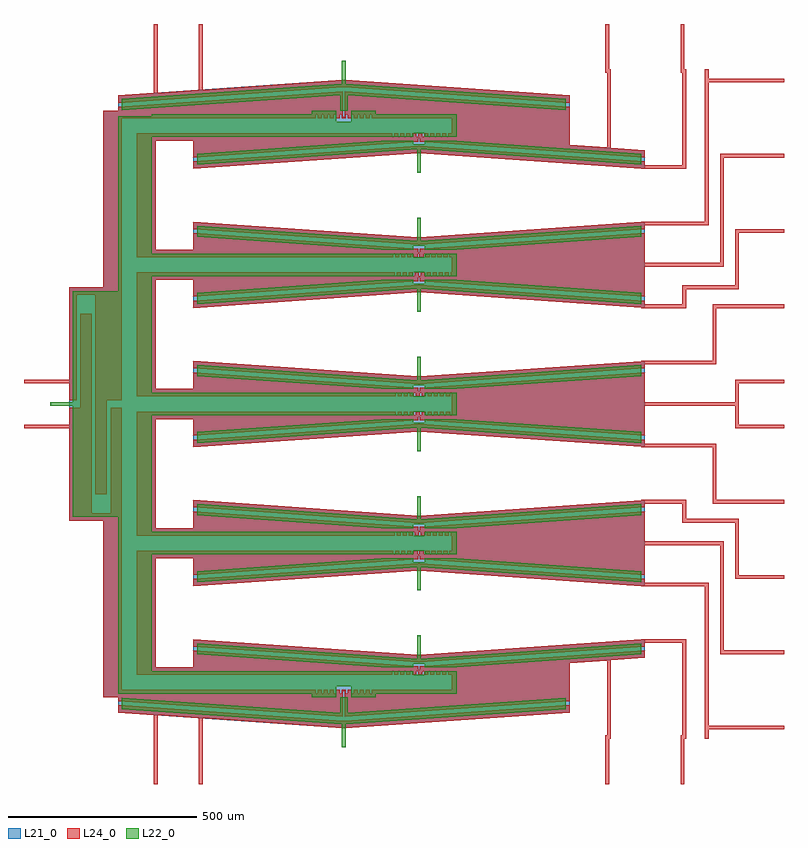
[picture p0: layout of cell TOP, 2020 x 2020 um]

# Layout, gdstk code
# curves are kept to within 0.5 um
import gdstk
lib = gdstk.Library(unit=1e-6, precision=1e-09)
def P(c, l, *ps):  # polygons
    for p in ps: c.add(gdstk.Polygon(p, *l))
L21_0 = (21, 0)
L22_0 = (22, 0)
L24_0 = (24, 0)

top = lib.new_cell('TOP')
P(top, L21_0, [(1037.5,338),(440,379.976),(440,420),(400,420),(400,890),(310,890),(310,1510),(400,1510),(400,1980),(440,1980),(440,2020.024),(1037.5,2062),(1640,2020.024),(1640,1889.055),(1840,1875.07),(1840,1825),(1830,1825),(1830,1825.745),(1242.5,1866.827),(640,1825.046),(640,1900),(540,1900),(540,1610),(640,1610),(640,1684.954),(1242.5,1643.173),(1830,1684.255),(1830,1685),(1840,1685),(1840,1455),(1830,1455),(1830,1455.745),(1242.5,1496.827),(640,1455.046),(640,1530),(540,1530),(540,1240),(640,1240),(640,1314.954),(1242.5,1273.173),(1830,1314.255),(1830,1315),(1840,1315),(1840,1085),(1830,1085),(1830,1085.745),(1242.5,1126.827),(640,1085.046),(640,1160),(540,1160),(540,870),(640,870),(640,944.954),(1242.5,903.173),(1830,944.255),(1830,945),(1840,945),(1840,715),(1830,715),(1830,715.745),(1242.5,756.827),(640,715.046),(640,790),(540,790),(540,500),(640,500),(640,574.954),(1242.5,533.173),(1830,574.255),(1830,575),(1840,575),(1840,524.93),(1640,510.945),(1640,379.976)])
P(top, L22_0, [(955,420),(955,430),(440,430),(440,900),(320,900),(320,1195),(260,1195),(260,1205),(320,1205),(320,1500),(440,1500),(440,1965),(530,1965),(530,1970),(955,1970),(955,1980),(1020,1980),(1020,1950),(1060,1950),(1060,1980),(1125,1980),(1125,1970),(1340,1970),(1340,1910),(1255,1910),(1255,1920),(1225,1920),(1225,1910),(530,1910),(530,1600),(1225,1600),(1225,1590),(1255,1590),(1255,1600),(1340,1600),(1340,1540),(1255,1540),(1255,1550),(1225,1550),(1225,1540),(530,1540),(530,1230),(1225,1230),(1225,1220),(1255,1220),(1255,1230),(1340,1230),(1340,1170),(1255,1170),(1255,1180),(1225,1180),(1225,1170),(530,1170),(530,860),(1225,860),(1225,850),(1255,850),(1255,860),(1340,860),(1340,800),(1255,800),(1255,810),(1225,810),(1225,800),(530,800),(530,490),(1225,490),(1225,480),(1255,480),(1255,490),(1340,490),(1340,430),(1125,430),(1125,420),(1060,420),(1060,450),(1020,450),(1020,420)],
  [(1035,288),(1035,348.369),(450,389.276),(450,419.301),(1030,378.743),(1030,420),(1050,420),(1050,378.743),(1630,419.301),(1630,389.276),(1045,348.369),(1045,288)],
  [(1030,1980),(1030,2021.257),(450,1980.699),(450,2010.724),(1035,2051.631),(1035,2112),(1045,2112),(1045,2051.631),(1630,2010.724),(1630,1980.699),(1050,2021.257),(1050,1980)],
  [(1139.523,500),(650,534.231),(650,564.255),(1235,523.348),(1235,585),(1245,585),(1245,523.348),(1830,564.255),(1830,534.231),(1340.477,500),(1255,500),(1255,510),(1225,510),(1225,500)],
  [(1235,705),(1235,766.652),(650,725.745),(650,755.769),(1139.523,790),(1225,790),(1225,780),(1255,780),(1255,790),(1340.477,790),(1830,755.769),(1830,725.745),(1245,766.652),(1245,705)],
  [(1139.523,870),(650,904.231),(650,934.255),(1235,893.348),(1235,955),(1245,955),(1245,893.348),(1830,934.255),(1830,904.231),(1340.477,870),(1255,870),(1255,880),(1225,880),(1225,870)],
  [(1235,1075),(1235,1136.652),(650,1095.745),(650,1125.769),(1139.523,1160),(1225,1160),(1225,1150),(1255,1150),(1255,1160),(1340.477,1160),(1830,1125.769),(1830,1095.745),(1245,1136.652),(1245,1075)],
  [(1139.523,1240),(650,1274.231),(650,1304.255),(1235,1263.348),(1235,1325),(1245,1325),(1245,1263.348),(1830,1304.255),(1830,1274.231),(1340.477,1240),(1255,1240),(1255,1250),(1225,1250),(1225,1240)],
  [(1235,1445),(1235,1506.652),(650,1465.745),(650,1495.769),(1139.523,1530),(1225,1530),(1225,1520),(1255,1520),(1255,1530),(1340.477,1530),(1830,1495.769),(1830,1465.745),(1245,1506.652),(1245,1445)],
  [(1139.523,1610),(650,1644.231),(650,1674.255),(1235,1633.348),(1235,1695),(1245,1695),(1245,1633.348),(1830,1674.255),(1830,1644.231),(1340.477,1610),(1255,1610),(1255,1620),(1225,1620),(1225,1610)],
  [(1235,1815),(1235,1876.652),(650,1835.745),(650,1865.769),(1139.523,1900),(1225,1900),(1225,1890),(1255,1890),(1255,1900),(1340.477,1900),(1830,1865.769),(1830,1835.745),(1245,1876.652),(1245,1815)])
P(top, L24_0, [(1735,190),(1735,320),(1740,320),(1740,517.937),(1640,510.945),(1640,410),(1042.5,368.219),(1042.5,434.576),(1041.714,436.321),(1039.774,436.991),(1038.179,436.214),(1037.5,434.576),(1037.5,368.219),(440,410),(440,420),(400,420),(400,890),(310,890),(310,1135),(190,1135),(190,1145),(310,1145),(310,1190),(340,1190),(340,1440),(370,1440),(370,910),(420,910),(420,1190),(450,1190),(450,440),(965.5,440),(965.555,431.975),(966.399,430.579),(967.924,430),(969.482,430.485),(970.409,431.828),(970.5,440),(981.5,440),(981.559,431.954),(982.346,430.624),(983.921,430),(985.406,430.431),(986.402,431.802),(986.5,440),(997.5,440),(997.559,431.954),(998.346,430.624),(999.921,430),(1001.406,430.431),(1002.402,431.802),(1002.5,440),(1013.5,440),(1013.555,431.975),(1014.399,430.579),(1015.924,430),(1017.482,430.485),(1018.409,431.828),(1018.5,440),(1029.5,440),(1029.555,431.975),(1030.399,430.579),(1031.924,430),(1033.482,430.485),(1034.409,431.828),(1034.5,440),(1045.5,440),(1045.555,431.975),(1046.399,430.579),(1047.924,430),(1049.482,430.485),(1050.409,431.828),(1050.5,440),(1061.5,440),(1061.555,431.975),(1062.399,430.579),(1063.924,430),(1065.482,430.485),(1066.409,431.828),(1066.5,440),(1077.5,440),(1077.555,431.975),(1078.399,430.579),(1079.924,430),(1081.482,430.485),(1082.409,431.828),(1082.5,440),(1093.5,440),(1093.555,431.975),(1094.399,430.579),(1095.924,430),(1097.406,430.431),(1098.402,431.802),(1098.5,440),(1109.5,440),(1109.555,431.975),(1110.399,430.579),(1111.924,430),(1113.406,430.431),(1114.402,431.802),(1114.5,440),(1327.3,440),(1327.3,480),(1317.7,480),(1317.645,488.025),(1316.801,489.421),(1315.276,490),(1313.794,489.569),(1312.798,488.198),(1312.7,480),(1301.7,480),(1301.641,488.046),(1300.854,489.376),(1299.279,490),(1297.794,489.569),(1296.798,488.198),(1296.7,480),(1285.7,480),(1285.641,488.046),(1284.854,489.376),(1283.279,490),(1281.794,489.569),(1280.798,488.198),(1280.7,480),(1269.7,480),(1269.645,488.025),(1268.801,489.421),(1267.276,490),(1265.794,489.569),(1264.798,488.198),(1264.7,480),(1253.7,480),(1253.641,488.046),(1252.854,489.376),(1251.279,490),(1249.718,489.515),(1248.791,488.172),(1248.7,480),(1237.7,480),(1237.645,488.025),(1236.801,489.421),(1235.276,490),(1233.794,489.569),(1232.798,488.198),(1232.7,480),(1221.7,480),(1221.645,488.025),(1220.801,489.421),(1219.276,490),(1217.794,489.569),(1216.798,488.198),(1216.7,480),(1205.7,480),(1205.645,488.025),(1204.801,489.421),(1203.276,490),(1201.794,489.569),(1200.798,488.198),(1200.7,480),(1189.7,480),(1189.645,488.025),(1188.801,489.421),(1187.276,490),(1185.794,489.569),(1184.798,488.198),(1184.7,480),(1173.7,480),(1173.645,488.025),(1172.801,489.421),(1171.276,490),(1169.794,489.569),(1168.798,488.198),(1168.7,480),(490,480),(490,810),(1171.9,810),(1171.955,801.975),(1172.799,800.579),(1174.324,800),(1175.806,800.431),(1176.802,801.802),(1176.9,810),(1187.9,810),(1187.955,801.975),(1188.799,800.579),(1190.324,800),(1191.806,800.431),(1192.802,801.802),(1192.9,810),(1203.9,810),(1203.959,801.954),(1204.746,800.624),(1206.321,800),(1207.806,800.431),(1208.802,801.802),(1208.9,810),(1219.9,810),(1219.955,801.975),(1220.799,800.579),(1222.324,800),(1223.806,800.431),(1224.802,801.802),(1224.9,810),(1235.9,810),(1235.959,801.954),(1236.746,800.624),(1238.321,800),(1239.882,800.485),(1240.809,801.828),(1240.9,810),(1251.9,810),(1251.955,801.975),(1252.799,800.579),(1254.324,800),(1255.806,800.431),(1256.802,801.802),(1256.9,810),(1267.9,810),(1267.959,801.954),(1268.746,800.624),(1270.321,800),(1271.806,800.431),(1272.802,801.802),(1272.9,810),(1283.9,810),(1283.959,801.954),(1284.746,800.624),(1286.321,800),(1287.806,800.431),(1288.802,801.802),(1288.9,810),(1299.9,810),(1299.955,801.975),(1300.799,800.579),(1302.324,800),(1303.882,800.485),(1304.809,801.828),(1304.9,810),(1315.9,810),(1315.955,801.975),(1316.799,800.579),(1318.324,800),(1319.882,800.485),(1320.809,801.828),(1320.9,810),(1327.3,810),(1327.3,850),(1324.1,850),(1324.041,858.046),(1323.254,859.376),(1321.679,860),(1320.118,859.515),(1319.191,858.172),(1319.1,850),(1308.1,850),(1308.045,858.025),(1307.201,859.421),(1305.676,860),(1304.118,859.515),(1303.191,858.172),(1303.1,850),(1292.1,850),(1292.041,858.046),(1291.254,859.376),(1289.679,860),(1288.118,859.515),(1287.191,858.172),(1287.1,850),(1276.1,850),(1276.041,858.046),(1275.254,859.376),(1273.679,860),(1272.194,859.569),(1271.198,858.198),(1271.1,850),(1260.1,850),(1260.045,858.025),(1259.201,859.421),(1257.676,860),(1256.194,859.569),(1255.198,858.198),(1255.1,850),(1244.1,850),(1244.045,858.025),(1243.201,859.421),(1241.676,860),(1240.194,859.569),(1239.198,858.198),(1239.1,850),(1228.1,850),(1228.045,858.025),(1227.201,859.421),(1225.676,860),(1224.194,859.569),(1223.198,858.198),(1223.1,850),(1212.1,850),(1212.045,858.025),(1211.201,859.421),(1209.676,860),(1208.194,859.569),(1207.198,858.198),(1207.1,850),(1196.1,850),(1196.041,858.046),(1195.254,859.376),(1193.679,860),(1192.118,859.515),(1191.191,858.172),(1191.1,850),(1180.1,850),(1180.045,858.025),(1179.201,859.421),(1177.676,860),(1176.118,859.515),(1175.191,858.172),(1175.1,850),(490,850),(490,1180),(1178.3,1180),(1178.355,1171.975),(1179.199,1170.579),(1180.724,1170),(1182.206,1170.431),(1183.202,1171.802),(1183.3,1180),(1194.3,1180),(1194.355,1171.975),(1195.199,1170.579),(1196.724,1170),(1198.206,1170.431),(1199.202,1171.802),(1199.3,1180),(1210.3,1180),(1210.355,1171.975),(1211.199,1170.579),(1212.724,1170),(1214.206,1170.431),(1215.202,1171.802),(1215.3,1180),(1226.3,1180),(1226.355,1171.975),(1227.199,1170.579),(1228.724,1170),(1230.206,1170.431),(1231.202,1171.802),(1231.3,1180),(1242.3,1180),(1242.359,1171.954),(1243.146,1170.624),(1244.721,1170),(1246.282,1170.485),(1247.209,1171.828),(1247.3,1180),(1258.3,1180),(1258.359,1171.954),(1259.146,1170.624),(1260.721,1170),(1262.206,1170.431),(1263.202,1171.802),(1263.3,1180),(1274.3,1180),(1274.355,1171.975),(1275.199,1170.579),(1276.724,1170),(1278.206,1170.431),(1279.202,1171.802),(1279.3,1180),(1290.3,1180),(1290.359,1171.954),(1291.146,1170.624),(1292.721,1170),(1294.206,1170.431),(1295.202,1171.802),(1295.3,1180),(1306.3,1180),(1306.355,1171.975),(1307.199,1170.579),(1308.724,1170),(1310.206,1170.431),(1311.202,1171.802),(1311.3,1180),(1322.3,1180),(1322.7,1171.142),(1325.498,1170.098),(1327.3,1172.421),(1327.3,1227.576),(1326.621,1229.214),(1324.876,1230),(1323.394,1229.569),(1322.398,1228.198),(1322.3,1220),(1311.3,1220),(1311.245,1228.025),(1310.401,1229.421),(1308.876,1230),(1307.318,1229.515),(1306.391,1228.172),(1306.3,1220),(1295.3,1220),(1295.245,1228.025),(1294.401,1229.421),(1292.876,1230),(1291.318,1229.515),(1290.391,1228.172),(1290.3,1220),(1279.3,1220),(1279.245,1228.025),(1278.401,1229.421),(1276.876,1230),(1275.394,1229.569),(1274.398,1228.198),(1274.3,1220),(1263.3,1220),(1263.245,1228.025),(1262.401,1229.421),(1260.876,1230),(1259.394,1229.569),(1258.398,1228.198),(1258.3,1220),(1247.3,1220),(1247.245,1228.025),(1246.401,1229.421),(1244.876,1230),(1243.394,1229.569),(1242.398,1228.198),(1242.3,1220),(1231.3,1220),(1231.245,1228.025),(1230.401,1229.421),(1228.876,1230),(1227.394,1229.569),(1226.398,1228.198),(1226.3,1220),(1215.3,1220),(1215.241,1228.046),(1214.454,1229.376),(1212.879,1230),(1211.394,1229.569),(1210.398,1228.198),(1210.3,1220),(1199.3,1220),(1199.245,1228.025),(1198.401,1229.421),(1196.876,1230),(1195.394,1229.569),(1194.398,1228.198),(1194.3,1220),(1183.3,1220),(1183.245,1228.025),(1182.401,1229.421),(1180.876,1230),(1179.318,1229.515),(1178.391,1228.172),(1178.3,1220),(490,1220),(490,1550),(1175.1,1550),(1175.155,1541.975),(1175.999,1540.579),(1177.524,1540),(1179.082,1540.485),(1180.009,1541.828),(1180.1,1550),(1191.1,1550),(1191.155,1541.975),(1191.999,1540.579),(1193.524,1540),(1195.082,1540.485),(1196.009,1541.828),(1196.1,1550),(1207.1,1550),(1207.155,1541.975),(1207.999,1540.579),(1209.524,1540),(1211.082,1540.485),(1212.009,1541.828),(1212.1,1550),(1223.1,1550),(1223.159,1541.954),(1223.946,1540.624),(1225.521,1540),(1227.082,1540.485),(1228.009,1541.828),(1228.1,1550),(1239.1,1550),(1239.155,1541.975),(1239.999,1540.579),(1241.524,1540),(1243.006,1540.431),(1244.002,1541.802),(1244.1,1550),(1255.1,1550),(1255.159,1541.954),(1255.946,1540.624),(1257.521,1540),(1259.006,1540.431),(1260.002,1541.802),(1260.1,1550),(1271.1,1550),(1271.159,1541.954),(1271.946,1540.624),(1273.521,1540),(1275.006,1540.431),(1276.002,1541.802),(1276.1,1550),(1287.1,1550),(1287.159,1541.954),(1287.946,1540.624),(1289.521,1540),(1291.006,1540.431),(1292.002,1541.802),(1292.1,1550),(1303.1,1550),(1303.155,1541.975),(1303.999,1540.579),(1305.524,1540),(1307.082,1540.485),(1308.009,1541.828),(1308.1,1550),(1319.1,1550),(1319.155,1541.975),(1319.999,1540.579),(1321.524,1540),(1323.082,1540.485),(1324.009,1541.828),(1324.1,1550),(1327.3,1550),(1327.3,1590),(1320.9,1590),(1320.841,1598.046),(1320.054,1599.376),(1318.479,1600),(1316.994,1599.569),(1315.998,1598.198),(1315.9,1590),(1304.9,1590),(1304.845,1598.025),(1304.001,1599.421),(1302.476,1600),(1300.994,1599.569),(1299.998,1598.198),(1299.9,1590),(1288.9,1590),(1288.845,1598.025),(1288.001,1599.421),(1286.476,1600),(1284.918,1599.515),(1283.991,1598.172),(1283.9,1590),(1272.9,1590),(1272.845,1598.025),(1272.001,1599.421),(1270.476,1600),(1268.994,1599.569),(1267.998,1598.198),(1267.9,1590),(1256.9,1590),(1256.841,1598.046),(1256.054,1599.376),(1254.479,1600),(1252.994,1599.569),(1251.998,1598.198),(1251.9,1590),(1240.9,1590),(1240.841,1598.046),(1240.054,1599.376),(1238.479,1600),(1236.918,1599.515),(1235.991,1598.172),(1235.9,1590),(1224.9,1590),(1224.841,1598.046),(1224.054,1599.376),(1222.479,1600),(1220.994,1599.569),(1219.998,1598.198),(1219.9,1590),(1208.9,1590),(1208.841,1598.046),(1208.054,1599.376),(1206.479,1600),(1204.994,1599.569),(1203.998,1598.198),(1203.9,1590),(1192.9,1590),(1192.841,1598.046),(1192.054,1599.376),(1190.479,1600),(1188.994,1599.569),(1187.998,1598.198),(1187.9,1590),(1176.9,1590),(1176.841,1598.046),(1176.054,1599.376),(1174.479,1600),(1172.994,1599.569),(1171.998,1598.198),(1171.9,1590),(490,1590),(490,1920),(1168.7,1920),(1168.759,1911.954),(1169.546,1910.624),(1171.121,1910),(1172.606,1910.431),(1173.602,1911.802),(1173.7,1920),(1184.7,1920),(1184.755,1911.975),(1185.599,1910.579),(1187.124,1910),(1188.606,1910.431),(1189.602,1911.802),(1189.7,1920),(1200.7,1920),(1200.755,1911.975),(1201.599,1910.579),(1203.124,1910),(1204.606,1910.431),(1205.602,1911.802),(1205.7,1920),(1216.7,1920),(1216.755,1911.975),(1217.599,1910.579),(1219.124,1910),(1220.606,1910.431),(1221.602,1911.802),(1221.7,1920),(1232.7,1920),(1232.755,1911.975),(1233.599,1910.579),(1235.124,1910),(1236.606,1910.431),(1237.602,1911.802),(1237.7,1920),(1248.7,1920),(1248.759,1911.954),(1249.546,1910.624),(1251.121,1910),(1252.606,1910.431),(1253.602,1911.802),(1253.7,1920),(1264.7,1920),(1264.755,1911.975),(1265.599,1910.579),(1267.124,1910),(1268.606,1910.431),(1269.602,1911.802),(1269.7,1920),(1280.7,1920),(1280.755,1911.975),(1281.599,1910.579),(1283.124,1910),(1284.682,1910.485),(1285.609,1911.828),(1285.7,1920),(1296.7,1920),(1296.755,1911.975),(1297.599,1910.579),(1299.124,1910),(1300.606,1910.431),(1301.602,1911.802),(1301.7,1920),(1312.7,1920),(1312.791,1911.828),(1313.718,1910.485),(1315.279,1910),(1316.854,1910.624),(1317.641,1911.954),(1317.7,1920),(1327.3,1920),(1327.3,1960),(1114.5,1960),(1114.445,1968.025),(1113.601,1969.421),(1112.076,1970),(1110.594,1969.569),(1109.598,1968.198),(1109.5,1960),(1098.5,1960),(1098.441,1968.046),(1097.654,1969.376),(1096.079,1970),(1094.594,1969.569),(1093.598,1968.198),(1093.5,1960),(1082.5,1960),(1082.441,1968.046),(1081.654,1969.376),(1080.079,1970),(1078.594,1969.569),(1077.598,1968.198),(1077.5,1960),(1066.5,1960),(1066.445,1968.025),(1065.601,1969.421),(1064.076,1970),(1062.594,1969.569),(1061.598,1968.198),(1061.5,1960),(1050.5,1960),(1050.441,1968.046),(1049.654,1969.376),(1048.079,1970),(1046.594,1969.569),(1045.598,1968.198),(1045.5,1960),(1034.5,1960),(1034.445,1968.025),(1033.601,1969.421),(1032.076,1970),(1030.594,1969.569),(1029.598,1968.198),(1029.5,1960),(1018.5,1960),(1018.441,1968.046),(1017.654,1969.376),(1016.079,1970),(1014.594,1969.569),(1013.598,1968.198),(1013.5,1960),(1002.5,1960),(1002.445,1968.025),(1001.601,1969.421),(1000.076,1970),(998.518,1969.515),(997.591,1968.172),(997.5,1960),(986.5,1960),(986.441,1968.046),(985.654,1969.376),(984.079,1970),(982.518,1969.515),(981.591,1968.172),(981.5,1960),(970.5,1960),(970.441,1968.046),(969.654,1969.376),(968.079,1970),(966.594,1969.569),(965.598,1968.198),(965.5,1960),(450,1960),(450,1210),(410,1210),(410,960),(380,960),(380,1490),(330,1490),(330,1210),(310,1210),(310,1255),(190,1255),(190,1265),(310,1265),(310,1510),(400,1510),(400,1980),(440,1980),(440,1990),(1037.5,2031.781),(1037.5,1965.424),(1038.179,1963.786),(1039.774,1963.009),(1041.714,1963.679),(1042.5,1965.424),(1042.5,2031.781),(1640,1990),(1640,1889.055),(1740,1882.063),(1740,2080),(1735,2080),(1735,2210),(1745,2210),(1745,2090),(1750,2090),(1750,1881.363),(1840,1875.07),(1840,1855.07),(1242.5,1896.851),(1242.445,1905.025),(1241.601,1906.421),(1240.076,1907),(1238.518,1906.515),(1237.591,1905.172),(1237.5,1896.851),(640,1855.07),(640,1900),(540,1900),(540,1610),(640,1610),(640,1654.93),(1237.5,1613.149),(1237.559,1604.954),(1238.346,1603.624),(1239.921,1603),(1241.533,1603.524),(1242.441,1604.954),(1242.5,1613.149),(1840,1654.93),(1840,1575),(2040,1575),(2040,1865),(2210,1865),(2210,1855),(2050,1855),(2050,1565),(1840,1565),(1840,1485.07),(1242.5,1526.851),(1242.445,1535.025),(1241.601,1536.421),(1240.076,1537),(1238.467,1536.476),(1237.559,1535.046),(1237.5,1526.851),(640,1485.07),(640,1530),(540,1530),(540,1240),(640,1240),(640,1284.93),(1237.5,1243.149),(1237.559,1234.954),(1238.346,1233.624),(1239.921,1233),(1241.482,1233.485),(1242.409,1234.828),(1242.5,1243.149),(1840,1284.93),(1840,1205),(2080,1205),(2080,1265),(2210,1265),(2210,1255),(2090,1255),(2090,1145),(2210,1145),(2210,1135),(2080,1135),(2080,1195),(1840,1195),(1840,1115.07),(1242.5,1156.851),(1242.445,1165.025),(1241.601,1166.421),(1240.076,1167),(1238.518,1166.515),(1237.591,1165.172),(1237.5,1156.851),(640,1115.07),(640,1160),(540,1160),(540,870),(640,870),(640,914.93),(1237.5,873.149),(1237.559,864.954),(1238.346,863.624),(1239.921,863),(1241.482,863.485),(1242.409,864.828),(1242.5,873.149),(1840,914.93),(1840,835),(2050,835),(2050,545),(2210,545),(2210,535),(2040,535),(2040,825),(1840,825),(1840,745.07),(1242.5,786.851),(1242.445,795.025),(1241.601,796.421),(1240.076,797),(1238.518,796.515),(1237.591,795.172),(1237.5,786.851),(640,745.07),(640,790),(540,790),(540,500),(640,500),(640,544.93),(1237.5,503.149),(1237.555,494.975),(1238.399,493.579),(1239.924,493),(1241.533,493.524),(1242.441,494.954),(1242.5,503.149),(1840,544.93),(1840,524.93),(1750,518.637),(1750,310),(1745,310),(1745,190)],
  [(535,190),(535,373.333),(440,379.976),(440,399.976),(1037.5,358),(1640,399.976),(1640,379.976),(1042.5,338),(665,364.242),(665,190),(655,190),(655,364.941),(545,372.633),(545,190)],
  [(440,2000.024),(440,2020.024),(535,2026.667),(535,2210),(545,2210),(545,2027.367),(655,2035.059),(655,2210),(665,2210),(665,2035.758),(1042.5,2062),(1640,2020.024),(1640,2000.024),(1037.5,2042)],
  [(1935,190),(1935,320),(1940,320),(1940,565),(1840,565),(1840,554.954),(1238.227,513),(640,554.954),(640,574.954),(1242.5,533.173),(1830,574.255),(1830,575),(1950,575),(1950,310),(1945,310),(1945,190)],
  [(2000,310),(2000,715),(1830,715),(1830,715.745),(1242.5,756.827),(640,715.046),(640,735.046),(1241.773,777),(1840,735.046),(1840,725),(2010,725),(2010,345),(2210,345),(2210,335),(2010,335),(2010,310)],
  [(2080,735),(2080,885),(1940,885),(1940,935),(1840,935),(1840,924.954),(1238.227,883),(640,924.954),(640,944.954),(1242.5,903.173),(1830,944.255),(1830,945),(1950,945),(1950,895),(2090,895),(2090,745),(2210,745),(2210,735)],
  [(2020,935),(2020,1085),(1830,1085),(1830,1085.745),(1242.5,1126.827),(640,1085.046),(640,1105.046),(1241.773,1147),(1840,1105.046),(1840,1095),(2030,1095),(2030,945),(2210,945),(2210,935)],
  [(1238.227,1253),(640,1294.954),(640,1314.954),(1242.5,1273.173),(1830,1314.255),(1830,1315),(2020,1315),(2020,1465),(2210,1465),(2210,1455),(2030,1455),(2030,1305),(1840,1305),(1840,1294.954)],
  [(1830,1455),(1830,1455.745),(1242.5,1496.827),(640,1455.046),(640,1475.046),(1241.773,1517),(1840,1475.046),(1840,1465),(1940,1465),(1940,1515),(2080,1515),(2080,1665),(2210,1665),(2210,1655),(2090,1655),(2090,1505),(1950,1505),(1950,1455)],
  [(1238.227,1623),(640,1664.954),(640,1684.954),(1242.5,1643.173),(1830,1684.255),(1830,1685),(2000,1685),(2000,2090),(2010,2090),(2010,2065),(2210,2065),(2210,2055),(2010,2055),(2010,1675),(1840,1675),(1840,1664.954)],
  [(1830,1825),(1830,1825.745),(1242.5,1866.827),(640,1825.046),(640,1845.046),(1241.773,1887),(1840,1845.046),(1840,1835),(1940,1835),(1940,2080),(1935,2080),(1935,2210),(1945,2210),(1945,2090),(1950,2090),(1950,1825)])

lib.write_gds('TOP.gds')
